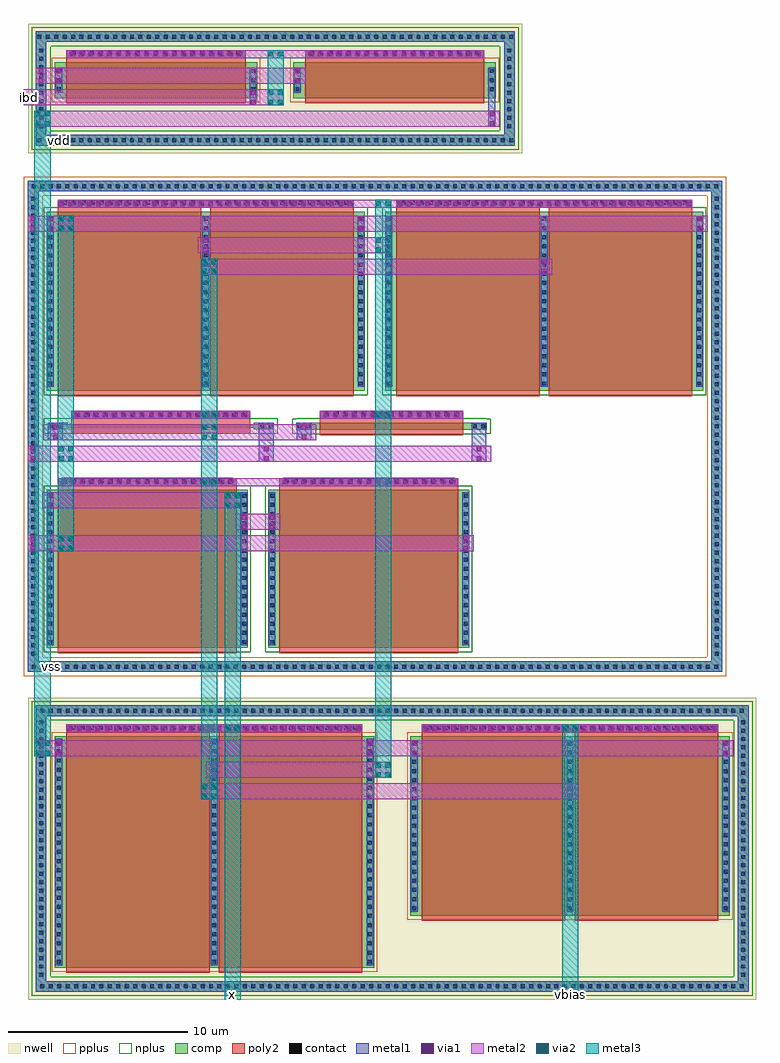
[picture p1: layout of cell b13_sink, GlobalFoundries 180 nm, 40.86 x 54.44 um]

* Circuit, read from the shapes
.subckt b13_sink ibd vbias vdd vss x
XM1 n1 n2 x vss nfet_03v3 w=8.8u l=10u
XM2 n3 n3 vss vss nfet_03v3 w=10u l=8u m=2
XM3 vss n2 n2 vss nfet_03v3 w=0.22u l=10u
XM4 vss n2 n1 vss nfet_03v3 w=8.8u l=10u
XM5 vss n3 n2 vss nfet_03v3 w=0.4u l=8u
XM6 n2 n3 vss vss nfet_03v3 w=10u l=8u m=2
XM7 n3 x n4 n4 pfet_03v3 w=12.9u l=8u m=2
XM8 ibd ibd vdd vdd pfet_03v3 w=2u l=10u
XM9 n4 ibd vdd vdd pfet_03v3 w=2u l=10u
XM10 n2 vbias n4 n4 pfet_03v3 w=10u l=8u m=2
.ends

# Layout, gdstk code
import gdstk
lib = gdstk.Library(unit=1e-6, precision=1e-09)
def R(c, l, rs):  # rectangles x0, y0, x1, y1
    for r in rs: c.add(gdstk.rectangle(r[:2], r[2:], *l))
def A(c, l, x, y, w, h, nx, ny, dx, dy):  # array of equal rectangles
    R(c, l, [(x+i*dx, y+j*dy, x+i*dx+w, y+j*dy+h) for i in range(nx) for j in range(ny)])
def P(c, l, *ps):  # polygons
    for p in ps: c.add(gdstk.Polygon(p, *l))
nwell = (21, 0)
comp = (22, 0)
poly2 = (30, 0)
pplus = (31, 0)
nplus = (32, 0)
contact = (33, 0)
metal1 = (34, 0)
via1 = (35, 0)
metal2 = (36, 0)
via2 = (38, 0)
metal3 = (42, 0)

pfet_2_6 = lib.new_cell('pfet$2$6')
R(pfet_2_6, nwell, [(-1.07,-0.74,11.45,3.12)])
R(pfet_2_6, comp, [(-0.46,0,10.84,2)])
R(pfet_2_6, poly2, [(0.19,-0.3,10.19,2.68)])
R(pfet_2_6, pplus, [(-0.63,-0.24,11.01,2.24)])
A(pfet_2_6, contact, -0.34, 0.38, 0.22, 0.22, 1, 3, 0, 0.51)
A(pfet_2_6, contact, 10.5, 0.38, 0.22, 0.22, 1, 3, 0, 0.51)
A(pfet_2_6, contact, 0.49, 2.38, 0.22, 0.22, 19, 1, 0.51, 0)
R(pfet_2_6, metal1, [(-0.42,0.3,-0.04,1.7), (10.42,0.3,10.8,1.7), (0.41,2.3,9.97,2.68)])

nfet_3_6 = lib.new_cell('nfet$3$6')
R(nfet_3_6, comp, [(-0.42,0,17.32,10)])
R(nfet_3_6, poly2, [(0.19,-0.3,8.19,10.66), (8.71,-0.3,16.71,10.66)])
R(nfet_3_6, nplus, [(-0.59,-0.24,17.49,10.24)])
A(nfet_3_6, contact, -0.32, 0.3, 0.22, 0.22, 3, 19, 8.66, 0.51)
A(nfet_3_6, contact, 0.51, 10.37, 0.22, 0.22, 15, 1, 0.51, 0)
A(nfet_3_6, contact, 9.03, 10.37, 0.22, 0.22, 15, 1, 0.51, 0)
A(nfet_3_6, metal1, -0.4, 0.22, 0.38, 9.56, 3, 1, 8.66, 0)
R(nfet_3_6, metal1, [(0.43,10.29,7.95,10.67), (8.95,10.29,16.47,10.67)])

nfet_2_6 = lib.new_cell('nfet$2$6')
R(nfet_2_6, comp, [(-0.93,0,9.31,0.4)])
R(nfet_2_6, poly2, [(0.19,-0.3,8.19,1.06)])
R(nfet_2_6, nplus, [(-1.1,-0.24,9.48,0.64)])
A(nfet_2_6, contact, 0.51, 0.77, 0.22, 0.22, 15, 1, 0.51, 0)
R(nfet_2_6, contact, [(-0.575,0.09,-0.355,0.31), (8.735,0.09,8.955,0.31)])
R(nfet_2_6, metal1, [(-0.655,0.01,-0.275,0.39), (8.655,0.01,9.035,0.39), (0.43,0.69,7.95,1.07)])

nfet_w0p4_l8_nf1_2co = lib.new_cell('nfet_W0p4_L8_nf1_2co')
R(nfet_w0p4_l8_nf1_2co, comp, [(-1.115,0.01,-0.575,0.39), (8.955,0.01,9.495,0.39)])
R(nfet_w0p4_l8_nf1_2co, nplus, [(-1.345,-0.22,-0.575,0.62), (8.955,-0.22,9.725,0.62)])
R(nfet_w0p4_l8_nf1_2co, contact, [(-1.045,0.09,-0.825,0.31), (9.205,0.09,9.425,0.31)])
R(nfet_w0p4_l8_nf1_2co, metal1, [(-1.105,0.01,-0.275,0.39), (8.655,0.01,9.485,0.39)])
nfet_w0p4_l8_nf1_2co.add(gdstk.Reference(nfet_2_6, (0,0)))

nfet_1_7 = lib.new_cell('nfet$1$7')
P(nfet_1_7, comp, [(-0.93,-0.08),(-0.93,0.3),(0,0.3),(0,0.22),(10.38,0.22),(10.38,0.3),(11.31,0.3),(11.31,-0.08),(10.38,-0.08),(10.38,0),(0,0),(0,-0.08)])
R(nfet_1_7, poly2, [(0.19,-0.3,10.19,0.88)])
R(nfet_1_7, nplus, [(-1.1,-0.32,11.48,0.54)])
A(nfet_1_7, contact, 0.49, 0.59, 0.22, 0.22, 19, 1, 0.51, 0)
R(nfet_1_7, contact, [(-0.575,0,-0.355,0.22), (10.735,0,10.955,0.22)])
R(nfet_1_7, metal1, [(-0.655,-0.08,-0.275,0.3), (10.655,-0.08,11.035,0.3), (0.41,0.51,9.97,0.89)])

nfet_w0p22_l10_nf1_2co = lib.new_cell('nfet_W0p22_L10_nf1_2co')
R(nfet_w0p22_l10_nf1_2co, comp, [(-1.115,-0.08,-0.575,0.3), (10.955,-0.08,11.495,0.3)])
R(nfet_w0p22_l10_nf1_2co, nplus, [(-1.345,-0.31,-0.575,0.53), (10.955,-0.31,11.725,0.53)])
R(nfet_w0p22_l10_nf1_2co, contact, [(-1.045,0,-0.825,0.22), (11.205,0,11.425,0.22)])
R(nfet_w0p22_l10_nf1_2co, metal1, [(-1.105,-0.08,-0.275,0.3), (10.655,-0.08,11.485,0.3)])
nfet_w0p22_l10_nf1_2co.add(gdstk.Reference(nfet_1_7, (0,0)))

nfet_16 = lib.new_cell('nfet$16')
R(nfet_16, comp, [(-0.42,0,10.8,8.8)])
R(nfet_16, poly2, [(0.19,-0.3,10.19,9.46)])
R(nfet_16, nplus, [(-0.59,-0.24,10.97,9.04)])
A(nfet_16, contact, -0.32, 0.21, 0.22, 0.22, 1, 17, 0, 0.51)
A(nfet_16, contact, 10.48, 0.21, 0.22, 0.22, 1, 17, 0, 0.51)
A(nfet_16, contact, 0.49, 9.17, 0.22, 0.22, 19, 1, 0.51, 0)
R(nfet_16, metal1, [(-0.4,0.13,-0.02,8.67), (10.4,0.13,10.78,8.67), (0.41,9.09,9.97,9.47)])

pfet_1_7 = lib.new_cell('pfet$1$7')
R(pfet_1_7, nwell, [(-1.07,-0.74,17.97,11.12)])
R(pfet_1_7, comp, [(-0.46,0,17.36,10)])
R(pfet_1_7, poly2, [(0.19,-0.3,8.19,10.68), (8.71,-0.3,16.71,10.68)])
R(pfet_1_7, pplus, [(-0.63,-0.24,17.53,10.24)])
A(pfet_1_7, contact, -0.34, 0.3, 0.22, 0.22, 3, 19, 8.68, 0.51)
A(pfet_1_7, contact, 0.51, 10.38, 0.22, 0.22, 15, 1, 0.51, 0)
A(pfet_1_7, contact, 9.03, 10.38, 0.22, 0.22, 15, 1, 0.51, 0)
A(pfet_1_7, metal1, -0.42, 0.22, 0.38, 9.56, 3, 1, 8.68, 0)
R(pfet_1_7, metal1, [(0.43,10.3,7.95,10.68), (8.95,10.3,16.47,10.68)])

pfet_20 = lib.new_cell('pfet$20')
R(pfet_20, nwell, [(-1.07,-0.74,17.97,14.02)])
R(pfet_20, comp, [(-0.46,0,17.36,12.9)])
R(pfet_20, poly2, [(0.19,-0.3,8.19,13.58), (8.71,-0.3,16.71,13.58)])
R(pfet_20, pplus, [(-0.63,-0.24,17.53,13.14)])
A(pfet_20, contact, -0.34, 0.22, 0.22, 0.22, 3, 25, 8.68, 0.51)
A(pfet_20, contact, 0.51, 13.28, 0.22, 0.22, 15, 1, 0.51, 0)
A(pfet_20, contact, 9.03, 13.28, 0.22, 0.22, 15, 1, 0.51, 0)
A(pfet_20, metal1, -0.42, 0.14, 0.38, 12.62, 3, 1, 8.68, 0)
R(pfet_20, metal1, [(0.43,13.2,7.95,13.58), (8.95,13.2,16.47,13.58)])

b13_sink = lib.new_cell('b13_sink')
R(b13_sink, nwell, [(0.24,0,40.86,16.84), (0.24,47.2,27.82,54.44)])
R(b13_sink, comp, [(0.67,0.43,40.43,1.03), (0.67,1.03,1.27,15.81), (39.83,1.03,40.43,15.81), (0.67,15.81,40.43,16.41), (0.23,18.27,38.95,18.87), (0.23,18.87,0.83,45.07), (38.35,18.87,38.95,45.07), (0.23,45.07,38.95,45.67), (0.67,47.63,27.39,48.23), (0.67,48.23,1.27,53.41), (26.79,48.23,27.39,53.41), (0.67,53.41,27.39,54.01)])
R(b13_sink, poly2, [(2.37,14.9,18.89,15.36), (22.21,14.9,38.73,15.36), (1.89,28.64,11.89,29.08), (14.25,28.64,24.25,29.08), (2.645,32.4,12.645,32.84), (16.515,32.4,24.515,32.84), (1.89,44.17,18.41,44.61), (20.77,44.17,37.29,44.61), (2.37,52.5,12.37,52.96), (15.69,52.5,25.69,52.96)])
R(b13_sink, pplus, [(0,18.04,39.18,19.1), (0,19.1,1.06,44.84), (38.12,19.1,39.18,44.84), (0,44.84,39.18,45.9)])
R(b13_sink, nplus, [(0.44,0.2,40.66,1.26), (0.44,1.26,1.5,15.58), (39.6,1.26,40.66,15.58), (0.44,15.58,40.66,16.64), (0.44,47.4,27.62,48.46), (0.44,48.46,1.5,53.18), (26.56,48.46,27.62,53.18), (0.44,53.18,27.62,54.24)])
A(b13_sink, contact, 0.935, 0.62, 0.22, 0.22, 84, 2, 0.47, 15.38)
A(b13_sink, contact, 0.86, 1.26, 0.22, 0.22, 1, 31, 0, 0.47)
A(b13_sink, contact, 40.02, 1.26, 0.22, 0.22, 1, 31, 0, 0.47)
A(b13_sink, contact, 0.445, 18.46, 0.22, 0.22, 82, 2, 0.47, 26.8)
A(b13_sink, contact, 0.42, 19.17, 0.22, 0.22, 1, 55, 0, 0.47)
A(b13_sink, contact, 38.54, 19.17, 0.22, 0.22, 1, 55, 0, 0.47)
A(b13_sink, contact, 0.76, 47.82, 0.22, 0.22, 57, 2, 0.47, 5.78)
A(b13_sink, contact, 0.86, 48.595, 0.22, 0.22, 1, 10, 0, 0.47)
A(b13_sink, contact, 26.98, 48.595, 0.22, 0.22, 1, 10, 0, 0.47)
R(b13_sink, contact, [(10.34,15.02,10.56,15.24), (30.18,15.02,30.4,15.24), (9.86,44.28,10.08,44.5), (28.74,44.28,28.96,44.5)])
R(b13_sink, metal1, [(0.67,0.43,40.43,1.03), (0.67,1.03,1.27,15.81), (39.83,1.03,40.43,15.81), (2.37,14.9,18.89,15.36), (22.21,14.9,38.73,15.36), (0.67,15.81,40.43,16.41), (0.23,18.27,38.95,18.87), (1.23,18.27,1.83,18.87), (0.23,18.87,0.83,45.07), (38.35,18.87,38.95,45.07), (1.89,28.64,11.89,29.08), (14.25,28.64,24.25,29.08), (13.11,29.99,13.94,31.9), (24.98,29.99,25.81,31.89), (1.35,31.19,2.18,31.9), (15.22,31.19,16.05,31.89), (2.645,32.39,12.645,32.84), (16.515,32.4,24.515,32.84), (1.89,44.17,18.41,44.61), (20.77,44.17,37.29,44.61), (0.23,45.07,38.95,45.67), (0.67,47.63,27.39,48.23), (1.67,47.63,2.27,48.23), (0.67,48.23,1.27,53.41), (26.79,48.23,27.39,53.41), (25.92,48.68,26.3,50.68), (12.6,49.88,12.98,50.68), (2.37,52.5,12.37,52.96), (15.69,52.5,25.69,52.96), (0.67,53.41,27.39,54.01)])
A(b13_sink, via1, 2.44, 15, 0.26, 0.26, 32, 1, 0.52, 0)
A(b13_sink, via1, 22.28, 15, 0.26, 0.26, 32, 1, 0.52, 0)
A(b13_sink, via1, 2.08, 28.73, 0.26, 0.26, 19, 1, 0.52, 0)
A(b13_sink, via1, 14.44, 28.73, 0.26, 0.26, 19, 1, 0.52, 0)
A(b13_sink, via1, 2.835, 32.49, 0.26, 0.26, 19, 1, 0.52, 0)
A(b13_sink, via1, 16.745, 32.49, 0.26, 0.26, 15, 1, 0.52, 0)
A(b13_sink, via1, 1.96, 44.26, 0.26, 0.26, 32, 1, 0.52, 0)
A(b13_sink, via1, 20.84, 44.26, 0.26, 0.26, 32, 1, 0.52, 0)
A(b13_sink, via1, 2.56, 52.6, 0.26, 0.26, 19, 1, 0.52, 0)
A(b13_sink, via1, 15.88, 52.6, 0.26, 0.26, 19, 1, 0.52, 0)
R(b13_sink, via1, [(30.34,11.22,30.6,11.48), (30.34,11.74,30.6,12), (10.5,12.42,10.76,12.68), (10.5,12.94,10.76,13.2), (0.84,13.62,1.1,13.88), (1.82,13.62,2.08,13.88), (19.18,13.62,19.44,13.88), (21.66,13.62,21.92,13.88), (39.02,13.62,39.28,13.88), (0.84,14.14,1.1,14.4), (1.82,14.14,2.08,14.4), (19.18,14.14,19.44,14.4), (21.66,14.14,21.92,14.4), (39.02,14.14,39.28,14.4), (0.4,25.05,0.66,25.31), (24.52,25.05,24.78,25.31), (0.4,25.57,0.66,25.83), (24.52,25.57,24.78,25.83), (12.16,26.25,12.42,26.51), (13.72,26.25,13.98,26.51), (12.16,26.77,12.42,27.03), (13.72,26.77,13.98,27.03), (1.36,27.45,1.62,27.71), (1.36,27.97,1.62,28.23), (0.4,30.05,0.66,30.31), (13.395,30.05,13.655,30.31), (25.265,30.05,25.525,30.31), (0.4,30.57,0.66,30.83), (13.395,30.57,13.655,30.83), (25.265,30.57,25.525,30.83), (1.635,31.25,1.895,31.51), (15.505,31.25,15.765,31.51), (1.635,31.77,1.895,32.03), (15.505,31.77,15.765,32.03), (28.9,40.49,29.16,40.75), (28.9,41.01,29.16,41.27), (10.02,41.69,10.28,41.95), (10.02,42.21,10.28,42.47), (0.4,42.89,0.66,43.15), (1.36,42.89,1.62,43.15), (18.68,42.89,18.94,43.15), (20.24,42.89,20.5,43.15), (37.56,42.89,37.82,43.15), (0.4,43.41,0.66,43.67), (1.36,43.41,1.62,43.67), (18.68,43.41,18.94,43.67), (20.24,43.41,20.5,43.67), (37.56,43.41,37.82,43.67), (25.98,48.74,26.24,49), (25.98,49.26,26.24,49.52), (12.66,49.94,12.92,50.2), (12.66,50.46,12.92,50.72), (0.84,51.14,1.1,51.4), (1.82,51.14,2.08,51.4), (15.14,51.14,15.4,51.4), (0.84,51.66,1.1,51.92), (1.82,51.66,2.08,51.92), (15.14,51.66,15.4,51.92)])
R(b13_sink, metal2, [(9.9,11.16,10.8,12.06), (9.9,11.16,30.92,12.06), (10.18,12.36,20.495,13.26), (19.595,12.36,20.495,13.26), (0.6,13.56,1.5,14.46), (0.6,13.56,39.6,14.46), (2.37,14.9,18.89,15.36), (11.2,14.9,12.1,15.36), (22.21,14.9,38.73,15.36), (30.04,14.9,30.94,15.36), (0.23,24.99,25.1,25.89), (1.9,24.99,2.8,25.89), (11.84,26.19,14.3,27.09), (1.04,27.39,12.1,28.29), (11.2,27.39,12.1,28.29), (1.89,28.64,24.25,29.08), (9.9,28.64,10.8,29.08), (0.23,29.99,26.07,30.89), (1.9,29.99,2.8,30.89), (1.09,31.19,16.31,32.09), (9.9,31.19,10.8,32.09), (2.645,32.4,12.645,32.84), (9.9,32.4,10.8,32.84), (16.515,32.4,24.515,32.84), (19.595,32.4,20.495,32.84), (9.9,40.43,29.48,41.33), (9.9,40.43,10.8,41.33), (9.7,41.63,20.495,42.53), (19.595,41.63,20.495,42.53), (0.23,42.83,38.14,43.73), (1.9,42.83,2.8,43.73), (1.89,44.17,37.29,44.61), (19.595,44.17,20.495,44.61), (0.6,48.68,1.5,49.58), (0.6,48.68,26.56,49.58), (0,49.88,14.5,50.78), (0,49.88,0.6,50.78), (13.6,49.88,14.5,50.78), (0.67,51.08,15.72,51.98), (2.37,52.5,25.69,52.96), (13.6,52.5,14.5,52.96)])
R(b13_sink, via2, [(9.96,11.22,10.22,11.48), (10.48,11.22,10.74,11.48), (9.96,11.74,10.22,12), (10.48,11.74,10.74,12), (19.655,12.42,19.915,12.68), (20.175,12.42,20.435,12.68), (19.655,12.94,19.915,13.2), (20.175,12.94,20.435,13.2), (0.66,13.62,0.92,13.88), (1.18,13.62,1.44,13.88), (0.66,14.14,0.92,14.4), (1.18,14.14,1.44,14.4), (11.26,15,11.52,15.26), (11.78,15,12.04,15.26), (30.1,15,30.36,15.26), (30.62,15,30.88,15.26), (1.96,25.05,2.22,25.31), (2.48,25.05,2.74,25.31), (1.96,25.57,2.22,25.83), (2.48,25.57,2.74,25.83), (11.26,27.45,11.52,27.71), (11.78,27.45,12.04,27.71), (11.26,27.97,11.52,28.23), (11.78,27.97,12.04,28.23), (9.96,28.73,10.22,28.99), (10.48,28.73,10.74,28.99), (1.96,30.05,2.22,30.31), (2.48,30.05,2.74,30.31), (1.96,30.57,2.22,30.83), (2.48,30.57,2.74,30.83), (9.96,31.25,10.22,31.51), (10.48,31.25,10.74,31.51), (9.96,31.77,10.22,32.03), (10.48,31.77,10.74,32.03), (9.96,32.49,10.22,32.75), (10.48,32.49,10.74,32.75), (19.655,32.49,19.915,32.75), (20.175,32.49,20.435,32.75), (9.96,40.49,10.22,40.75), (10.48,40.49,10.74,40.75), (9.96,41.01,10.22,41.27), (10.48,41.01,10.74,41.27), (19.655,41.69,19.915,41.95), (20.175,41.69,20.435,41.95), (19.655,42.21,19.915,42.47), (20.175,42.21,20.435,42.47), (1.96,42.89,2.22,43.15), (2.48,42.89,2.74,43.15), (1.96,43.41,2.22,43.67), (2.48,43.41,2.74,43.67), (19.655,44.26,19.915,44.52), (20.175,44.26,20.435,44.52), (0.66,48.74,0.92,49), (1.18,48.74,1.44,49), (0.66,49.26,0.92,49.52), (1.18,49.26,1.44,49.52), (13.66,49.94,13.92,50.2), (14.18,49.94,14.44,50.2), (13.66,50.46,13.92,50.72), (14.18,50.46,14.44,50.72), (13.66,52.6,13.92,52.86), (14.18,52.6,14.44,52.86)])
R(b13_sink, metal3, [(11.2,0,12.1,28.29), (11.2,0,12.1,0.6), (30.04,0,30.94,0.6), (30.04,0,30.94,15.36), (9.9,11.16,10.8,41.33), (19.595,12.36,20.495,44.61), (0.6,13.56,1.5,49.58), (1.9,24.99,2.8,43.73), (13.6,49.88,14.5,52.96)])
b13_sink.add(gdstk.Reference(pfet_2_6, (2.18,50.28)))
b13_sink.add(gdstk.Reference(pfet_2_6, (15.5,50.28)))
b13_sink.add(gdstk.Reference(nfet_3_6, (1.7,33.95)))
b13_sink.add(gdstk.Reference(nfet_3_6, (20.58,33.95)))
b13_sink.add(gdstk.Reference(nfet_w0p4_l8_nf1_2co, (16.325,31.78)))
b13_sink.add(gdstk.Reference(nfet_w0p22_l10_nf1_2co, (2.455,31.88)))
b13_sink.add(gdstk.Reference(nfet_16, (1.7,19.62)))
b13_sink.add(gdstk.Reference(nfet_16, (14.06,19.62)))
b13_sink.add(gdstk.Reference(pfet_1_7, (22.02,4.68)))
b13_sink.add(gdstk.Reference(pfet_20, (2.18,1.78)))
b13_sink.add(gdstk.Label('vdd', (1.97,47.93), layer=34, texttype=10))
b13_sink.add(gdstk.Label('vss', (1.53,18.57), layer=34, texttype=10))
b13_sink.add(gdstk.Label('x', (11.65,0.3), layer=42, texttype=10))
b13_sink.add(gdstk.Label('vbias', (30.49,0.3), layer=42, texttype=10))
b13_sink.add(gdstk.Label('ibd', (0.3,50.33), layer=36, texttype=10))

lib.write_gds('b13_sink.gds')
